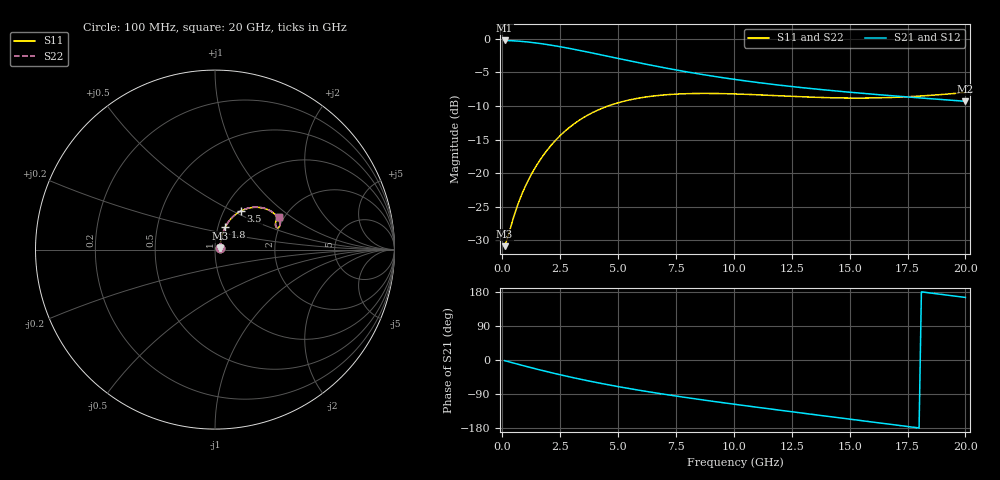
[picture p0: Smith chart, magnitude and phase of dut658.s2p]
! Touchstone file exported from HFSS 2024.1.0
!  File:  C:/UserFiles/LocalFiles/RDL_TSV_Batchsim/temp_RDL_TSV_658_1779811055.aedt
!  Generated:  12:14:24 AM May 27, 2026
!  Design:  RDL_TSV
!  Project:  temp_RDL_TSV_658_1779811055
!  Setup:  Setup1
!  Solution:  Sweep
! Variables:
!  dtsv = 6.24um
!  hbump = 3um
!  htsv = 80.46um
!  ldown = 215.02um
!  lrdl = 498.13um
!  p = 40
!  p1 = 56.16um
!  rhole = 10um
!  subl = 2637.58um
!  t = 450um
!  tdown = 3.86um
!  trdl = 2.03um
!  viad = 10um
!  wdown = 22.79um
!  wrdl = 14.37um
!  xbump = 18um
# GHz S MA R 50.000000
! Terminal data exported
! Port[1] = TM1_1_T1
! Port[2] = TM1_4_T1
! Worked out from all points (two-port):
!   200 points, 100 MHz to 20 GHz, reference 50 ohm
!   highest |S21| = -0.24 dB at 100 MHz (marker M1); lowest = -9.3 dB at 20 GHz (marker M2)
!   |S21| within 3 dB of the highest: start of sweep to 5.451 GHz
!   lowest |S11| = -30.9 dB at 100 MHz (marker M3), VSWR 1.06, Z = 52.8 + j0.797 ohm
!   |S11| at or under -10 dB: start of sweep to 4.566 GHz
!   |S22| runs from -30.9 to -8.0 dB; largest |S21 - S12| = 9.5e-15
!   S11 on the Smith chart (normalised r, x): 100 MHz: 1.06, +0.02; 1.8 GHz: 1.08, +0.28; 3.5 GHz: 1.20, +0.55; 20 GHz: 1.88, +0.80
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0.1  0.02866 15.3  0.9722 -1.7  0.9722 -1.7  0.02866 15.3
! Gamma 0 0 0 0
! Port Impedance 50 0 50 0
0.2  0.0319 28.0  0.9713 -3.4  0.9713 -3.4  0.0319 28.0
0.6  0.05392 53.5  0.9637 -10.0  0.9637 -10.0  0.05392 53.5
0.9  0.07344 60.5  0.9546 -14.8  0.9546 -14.8  0.07344 60.6
1.3  0.1013 64.5  0.9388 -21.2  0.9388 -21.2  0.1013 64.6
1.8  0.1382 65.4  0.9142 -28.8  0.9142 -28.8  0.1382 65.5
2.2  0.1682 64.4  0.8915 -34.7  0.8915 -34.7  0.1683 64.5
2.6  0.1978 62.3  0.8672 -40.3  0.8672 -40.3  0.198 62.5
3  0.2262 59.8  0.8417 -45.8  0.8417 -45.8  0.2265 59.9
3.5  0.259 56.1  0.8092 -52.3  0.8092 -52.3  0.2594 56.2
4.2  0.2987 50.8  0.764 -61.0  0.764 -61.0  0.2992 50.9
4.9  0.3303 45.5  0.7205 -69.0  0.7205 -69.0  0.331 45.7
5.8  0.3597 39.4  0.6689 -78.7  0.6689 -78.7  0.3606 39.5
6.8  0.3799 33.6  0.6181 -88.6  0.6181 -88.6  0.3809 33.7
8.4  0.3921 26.5  0.5513 -103.1  0.5513 -103.1  0.3932 26.6
10.1  0.3887 21.6  0.4969 -117.4  0.4969 -117.4  0.39 21.7
11.7  0.3787 19.4  0.4578 -130.2  0.4578 -130.2  0.38 19.5
13.4  0.3678 19.2  0.4253 -143.6  0.4253 -143.6  0.3691 19.3
15  0.3625 20.6  0.4006 -156.0  0.4006 -156.0  0.3638 20.7
16.7  0.3656 23.0  0.3786 -169.3  0.3786 -169.3  0.367 23.1
18.3  0.3777 25.2  0.3604 178.3  0.3604 178.3  0.379 25.3
20  0.3981 26.7  0.3429 165.1  0.3429 165.1  0.3996 26.9
